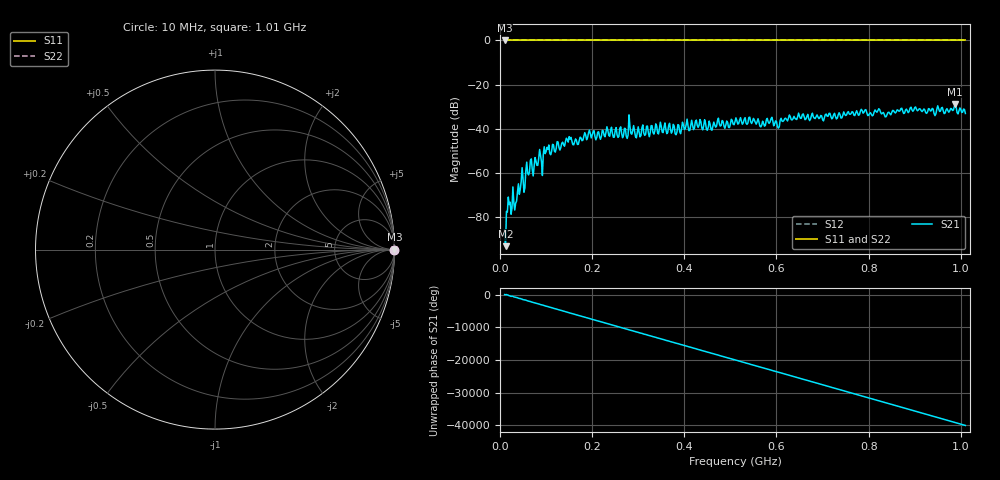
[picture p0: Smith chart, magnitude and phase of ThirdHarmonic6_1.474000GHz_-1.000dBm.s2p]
! 8/16/2025 5:12:04 PM
! C:\ANRITSUVNA\TEMP\TEMP.S2P
! CHANNEL.1
! TR.MEASUREMENT
! RAW.DATA
! RF.CORRECTION.OFF
! AVERAGING.OFF
! IF.BANDWIDTH: 5KHZ
! SWEEPTYPE:  FREQ.SWEEP(Linear)
! Reference Plane Port Info
! PORT:  PORT1  PORT2
! DISTANCE:  0  m  0  m
! TIME:  0  s  0  s
! PHASE.OFFSET:  0  deg.  0  deg.
! LOSS:  0  dB  0  dB
! REF.LOSS:  0  dB  0  dB
! REF.FREQ:  0  Hz  0  Hz
! Power Info
! POWER:  -20  dBm  -20  dBm
! EFF.POWER:  -20  dBm  -20  dBm
! SOURCE.ATTEN:  0  dB  0  dB
! TEST.ATTEN:  0  dB  0  dB
# GHZ S RI R 50.0
! FREQ.GHZ  S11RE  S11IM  S21RE  S21IM  S12RE  S12IM  S22RE  S22IM
!; PortSelection: Port_12
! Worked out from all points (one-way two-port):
!   501 points, 10 MHz to 1.01 GHz, reference 50 ohm
!   highest |S21| = -28.80 dB at 988 MHz (marker M1); lowest = -93.3 dB at 12 MHz (marker M2)
!   lowest |S11| = 0.0 dB at 10 MHz (marker M3)
!   |S11| at or under -10 dB: nowhere
!   |S22| runs from 0.0 to 0.0 dB; largest |S21 - S12| = 1
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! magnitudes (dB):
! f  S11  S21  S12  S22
! 10 MHz  0.0  -85.9  0.0  0.0
! 12 MHz  0.0  -93.3  0.0  0.0
! 18 MHz  0.0  -71.0  0.0  0.0
! 34 MHz  0.0  -73.8  0.0  0.0
! 44 MHz  0.0  -67.4  0.0  0.0
! 56 MHz  0.0  -59.1  0.0  0.0
! 62 MHz  0.0  -61.0  0.0  0.0
! 94 MHz  0.0  -51.5  0.0  0.0
! 100 MHz  0.0  -50.5  0.0  0.0
! 178 MHz  0.0  -45.5  0.0  0.0
! 274 MHz  0.0  -43.4  0.0  0.0
! 284 MHz  0.0  -42.1  0.0  0.0
! 300 MHz  0.0  -39.2  0.0  0.0
! 344 MHz  0.0  -42.4  0.0  0.0
! 510 MHz  0.0  -36.9  0.0  0.0
! 588 MHz  0.0  -35.6  0.0  0.0
! 602 MHz  0.0  -39.0  0.0  0.0
! 626 MHz  0.0  -35.3  0.0  0.0
! 678 MHz  0.0  -33.0  0.0  0.0
! 844 MHz  0.0  -32.5  0.0  0.0
! 988 MHz  0.0  -28.8  0.0  0.0
! 1.01 GHz  0.0  -33.1  0.0  0.0
